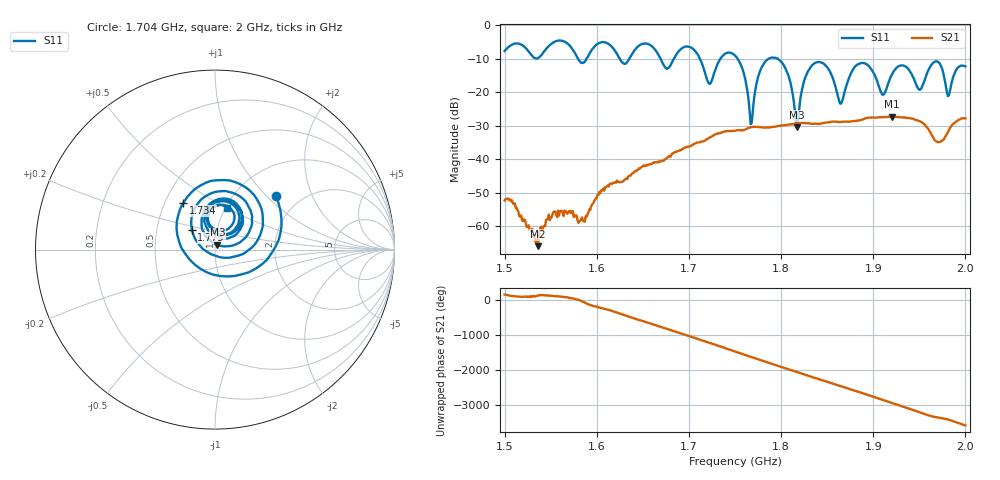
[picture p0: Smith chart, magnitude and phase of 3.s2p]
! NanoVNA-App by SYSJOINT et al v1.1.209 (+OD18)
! Date: 2026-01-21 14:53:14
! Start: 1,5GHz Stop: 2GHz Points: 501
! S-Parameter data: F S11 S21 S12 S22
# Hz S RI R 50
!  Frequency  S11_Real  S11_Imag  S21_Real  S21_Imag  S12_Real  S12_Imag  S22_Real  S22_Imag
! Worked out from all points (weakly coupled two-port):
!   501 points, 1.5 GHz to 2 GHz, reference 50 ohm
!   highest |S21| = -27.26 dB at 1.92 GHz (marker M1); lowest = -66.0 dB at 1.536 GHz (marker M2)
!   lowest |S11| = -30.4 dB at 1.817 GHz (marker M3), VSWR 1.06, Z = 51.3 + j2.76 ohm
!   |S11| at or under -10 dB: 1.712 GHz to 1.734 GHz (22.13 MHz wide, 1.28 % of centre); 1.753 GHz to 1.786 GHz (33.36 MHz wide, 1.89 % of centre); 1.797 GHz to end of sweep (the widest 3 of 6)
!   S12 and S22 are empty: the file has one direction only
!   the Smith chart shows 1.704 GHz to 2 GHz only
!   S11 on the Smith chart (normalised r, x): 1.704 GHz: 1.51, +1.13; 1.734 GHz: 0.62, +0.36; 1.775 GHz: 0.75, +0.17; 2 GHz: 1.02, +0.51
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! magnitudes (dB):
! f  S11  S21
! 1.5 GHz  -7.6  -52.3
! 1.536 GHz  -9.8  -66.0
! 1.561 GHz  -4.5  -55.5
! 1.584 GHz  -11.2  -57.4
! 1.667 GHz  -8.8  -40.7
! 1.704 GHz  -6.9  -35.8
! 1.722 GHz  -17.4  -33.6
! 1.734 GHz  -10.0  -32.2
! 1.75 GHz  -9.0  -31.5
! 1.767 GHz  -29.5  -30.5
! 1.775 GHz  -15.4  -30.3
! 1.8 GHz  -10.8  -30.0
! 1.817 GHz  -30.4  -29.4
! 1.834 GHz  -11.8  -29.5
! 1.865 GHz  -23.4  -28.9
! 1.885 GHz  -11.5  -28.4
! 1.917 GHz  -16.9  -27.3
! 1.92 GHz  -14.8  -27.3
! 1.951 GHz  -19.2  -28.7
! 1.969 GHz  -10.7  -34.7
! 1.982 GHz  -21.0  -31.4
! 2 GHz  -12.2  -27.8
